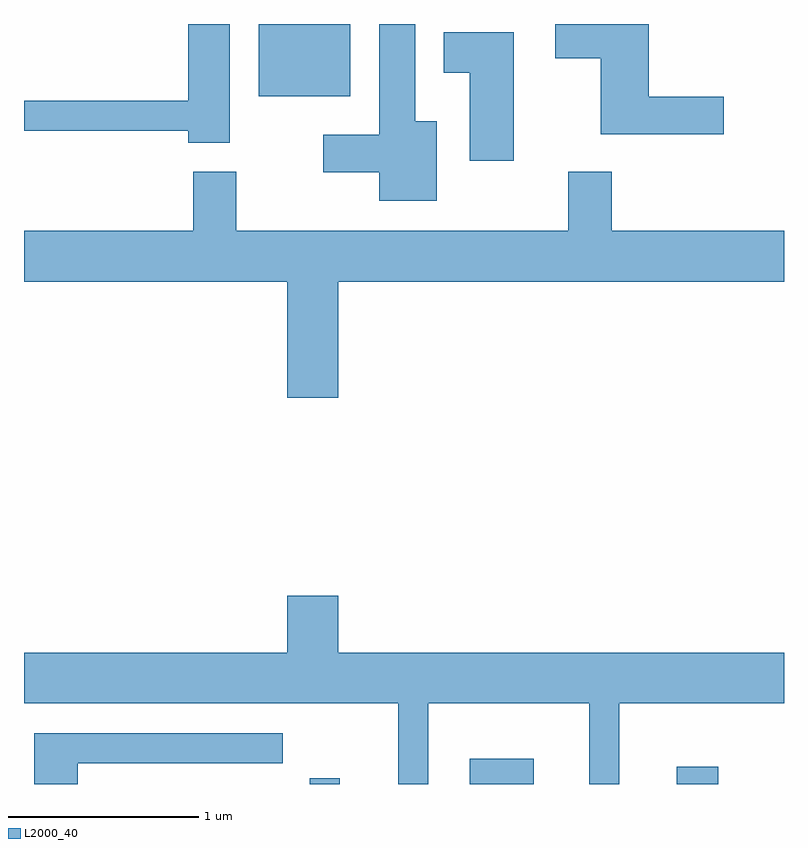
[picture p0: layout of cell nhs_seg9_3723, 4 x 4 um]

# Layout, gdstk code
import gdstk
lib = gdstk.Library(unit=1e-6, precision=1e-09)
def R(c, l, rs):  # rectangles x0, y0, x1, y1
    for r in rs: c.add(gdstk.rectangle(r[:2], r[2:], *l))
def P(c, l, *ps):  # polygons
    for p in ps: c.add(gdstk.Polygon(p, *l))
L2000_40 = (2000, 40)

nhs_seg9_3723 = lib.new_cell('nhs_seg9_3723')
R(nhs_seg9_3723, L2000_40, [(295.116,2062.432,295.274,2062.463), (295.956,2062.432,296.294,2062.564), (297.046,2062.432,297.264,2062.524), (294.846,2066.051,295.329,2066.432)])
P(nhs_seg9_3723, L2000_40, [(294.694,2066.432),(294.476,2066.432),(294.476,2066.029),(293.611,2066.029),(293.611,2065.871),(294.476,2065.871),(294.476,2065.806),(294.694,2065.806)],
  [(295.784,2065.919),(295.669,2065.919),(295.669,2066.432),(295.481,2066.432),(295.481,2065.849),(295.186,2065.849),(295.186,2065.651),(295.481,2065.651),(295.481,2065.501),(295.784,2065.501)],
  [(297.294,2066.049),(296.899,2066.049),(296.899,2066.432),(296.406,2066.432),(296.406,2066.251),(296.646,2066.251),(296.646,2065.851),(297.294,2065.851)],
  [(296.189,2066.389),(295.821,2066.389),(295.821,2066.176),(295.956,2066.176),(295.956,2065.711),(296.189,2065.711)],
  [(295.264,2065.076),(297.611,2065.076),(297.611,2065.344),(296.704,2065.344),(296.704,2065.654),(296.476,2065.654),(296.476,2065.344),(294.729,2065.344),(294.729,2065.654),(294.501,2065.654),(294.501,2065.344),(293.611,2065.344),(293.611,2065.076),(294.996,2065.076),(294.996,2064.466),(295.264,2064.466)],
  [(295.739,2062.856),(296.586,2062.856),(296.586,2062.432),(296.744,2062.432),(296.744,2062.856),(297.611,2062.856),(297.611,2063.124),(295.264,2063.124),(295.264,2063.424),(294.996,2063.424),(294.996,2063.124),(293.611,2063.124),(293.611,2062.856),(295.581,2062.856),(295.581,2062.432),(295.739,2062.432)],
  [(293.894,2062.541),(294.973,2062.541),(294.973,2062.699),(293.666,2062.699),(293.666,2062.432),(293.894,2062.432)])

lib.write_gds('nhs_seg9_3723.gds')
